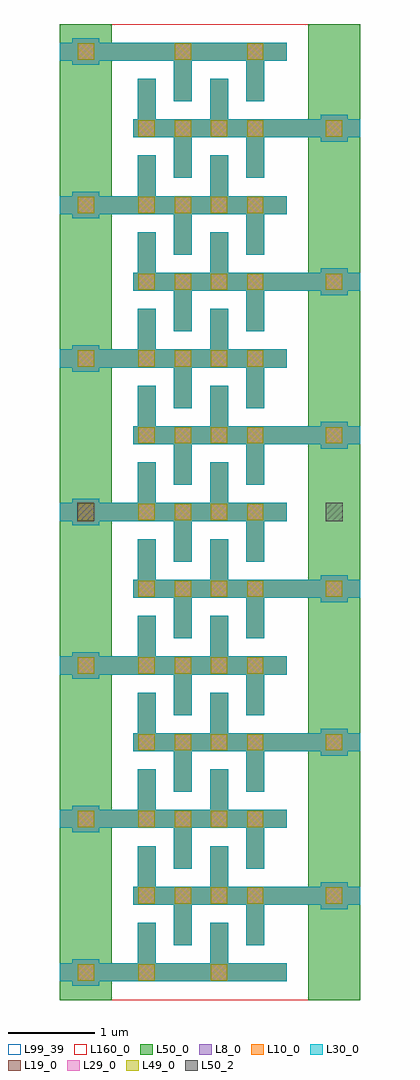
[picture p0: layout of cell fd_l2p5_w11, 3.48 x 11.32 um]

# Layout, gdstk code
import gdstk
lib = gdstk.Library(unit=1e-6, precision=1e-09)
def R(c, l, rs):  # rectangles x0, y0, x1, y1
    for r in rs: c.add(gdstk.rectangle(r[:2], r[2:], *l))
def A(c, l, x, y, w, h, nx, ny, dx, dy):  # array of equal rectangles
    R(c, l, [(x+i*dx, y+j*dy, x+i*dx+w, y+j*dy+h) for i in range(nx) for j in range(ny)])
L8_0 = (8, 0)
L10_0 = (10, 0)
L19_0 = (19, 0)
L29_0 = (29, 0)
L30_0 = (30, 0)
L49_0 = (49, 0)
L50_0 = (50, 0)
L50_2 = (50, 2)
L99_39 = (99, 39)
L160_0 = (160, 0)

fd_l2p5_w11 = lib.new_cell('fd_l2p5_w11')
A(fd_l2p5_w11, L8_0, -0.755, -0.155, 0.31, 0.31, 1, 7, 0, 1.78)
A(fd_l2p5_w11, L8_0, -0.9, -0.105, 2.63, 0.21, 1, 7, 0, 1.78)
A(fd_l2p5_w11, L8_0, 0, 0, 0.21, 0.575, 1, 12, 0, 0.89)
A(fd_l2p5_w11, L8_0, 0.84, 0, 0.21, 0.575, 1, 12, 0, 0.89)
A(fd_l2p5_w11, L8_0, 0.42, 0.315, 0.21, 0.575, 1, 12, 0, 0.89)
A(fd_l2p5_w11, L8_0, 1.26, 0.315, 0.21, 0.575, 1, 12, 0, 0.89)
A(fd_l2p5_w11, L8_0, 2.125, 0.735, 0.31, 0.31, 1, 6, 0, 1.78)
A(fd_l2p5_w11, L8_0, -0.05, 0.785, 2.63, 0.21, 1, 6, 0, 1.78)
A(fd_l2p5_w11, L10_0, -0.755, -0.155, 0.31, 0.31, 1, 7, 0, 1.78)
A(fd_l2p5_w11, L10_0, -0.9, -0.105, 2.63, 0.21, 1, 7, 0, 1.78)
A(fd_l2p5_w11, L10_0, 0, 0, 0.21, 0.575, 1, 12, 0, 0.89)
A(fd_l2p5_w11, L10_0, 0.84, 0, 0.21, 0.575, 1, 12, 0, 0.89)
A(fd_l2p5_w11, L10_0, 0.42, 0.315, 0.21, 0.575, 1, 12, 0, 0.89)
A(fd_l2p5_w11, L10_0, 1.26, 0.315, 0.21, 0.575, 1, 12, 0, 0.89)
A(fd_l2p5_w11, L10_0, 2.125, 0.735, 0.31, 0.31, 1, 6, 0, 1.78)
A(fd_l2p5_w11, L10_0, -0.05, 0.785, 2.63, 0.21, 1, 6, 0, 1.78)
A(fd_l2p5_w11, L19_0, -0.695, -0.095, 0.19, 0.19, 1, 7, 0, 1.78)
A(fd_l2p5_w11, L19_0, 0.01, 0.795, 0.19, 0.19, 4, 11, 0.42, 0.89)
A(fd_l2p5_w11, L19_0, 2.185, 0.795, 0.19, 0.19, 1, 6, 0, 1.78)
R(fd_l2p5_w11, L19_0, [(0.01,-0.095,0.2,0.095), (0.85,-0.095,1.04,0.095), (0.43,10.585,0.62,10.775), (1.27,10.585,1.46,10.775)])
A(fd_l2p5_w11, L29_0, -0.695, -0.095, 0.19, 0.19, 1, 7, 0, 1.78)
A(fd_l2p5_w11, L29_0, 0.01, 0.795, 0.19, 0.19, 4, 11, 0.42, 0.89)
A(fd_l2p5_w11, L29_0, 2.185, 0.795, 0.19, 0.19, 1, 6, 0, 1.78)
R(fd_l2p5_w11, L29_0, [(0.01,-0.095,0.2,0.095), (0.85,-0.095,1.04,0.095), (0.43,10.585,0.62,10.775), (1.27,10.585,1.46,10.775)])
A(fd_l2p5_w11, L30_0, -0.755, -0.155, 0.31, 0.31, 1, 7, 0, 1.78)
A(fd_l2p5_w11, L30_0, -0.9, -0.105, 2.63, 0.21, 1, 7, 0, 1.78)
A(fd_l2p5_w11, L30_0, 0, 0, 0.21, 0.575, 1, 12, 0, 0.89)
A(fd_l2p5_w11, L30_0, 0.84, 0, 0.21, 0.575, 1, 12, 0, 0.89)
A(fd_l2p5_w11, L30_0, 0.42, 0.315, 0.21, 0.575, 1, 12, 0, 0.89)
A(fd_l2p5_w11, L30_0, 1.26, 0.315, 0.21, 0.575, 1, 12, 0, 0.89)
A(fd_l2p5_w11, L30_0, 2.125, 0.735, 0.31, 0.31, 1, 6, 0, 1.78)
A(fd_l2p5_w11, L30_0, -0.05, 0.785, 2.63, 0.21, 1, 6, 0, 1.78)
A(fd_l2p5_w11, L49_0, -0.695, -0.095, 0.19, 0.19, 1, 7, 0, 1.78)
A(fd_l2p5_w11, L49_0, 0.01, 0.795, 0.19, 0.19, 4, 11, 0.42, 0.89)
A(fd_l2p5_w11, L49_0, 2.185, 0.795, 0.19, 0.19, 1, 6, 0, 1.78)
R(fd_l2p5_w11, L49_0, [(0.01,-0.095,0.2,0.095), (0.85,-0.095,1.04,0.095), (0.43,10.585,0.62,10.775), (1.27,10.585,1.46,10.775)])
A(fd_l2p5_w11, L50_0, -0.9, -0.105, 2.63, 0.21, 1, 7, 0, 1.78)
A(fd_l2p5_w11, L50_0, 0, 0, 0.21, 0.575, 1, 12, 0, 0.89)
A(fd_l2p5_w11, L50_0, 0.84, 0, 0.21, 0.575, 1, 12, 0, 0.89)
A(fd_l2p5_w11, L50_0, 0.42, 0.315, 0.21, 0.575, 1, 12, 0, 0.89)
A(fd_l2p5_w11, L50_0, 1.26, 0.315, 0.21, 0.575, 1, 12, 0, 0.89)
A(fd_l2p5_w11, L50_0, -0.05, 0.785, 2.63, 0.21, 1, 6, 0, 1.78)
R(fd_l2p5_w11, L50_0, [(-0.9,-0.32,-0.3,11), (1.98,-0.32,2.58,11)])
R(fd_l2p5_w11, L50_2, [(-0.7,5.235,-0.5,5.445), (2.18,5.235,2.38,5.445)])
R(fd_l2p5_w11, L99_39, [(-0.9,-0.32,2.58,11)])
R(fd_l2p5_w11, L160_0, [(-0.9,-0.32,2.58,11)])
fd_l2p5_w11.add(gdstk.Label('cap_cmomi C=17.927fF', (-0.9,-0.82), layer=63, texttype=0))

lib.write_gds('fd_l2p5_w11.gds')
